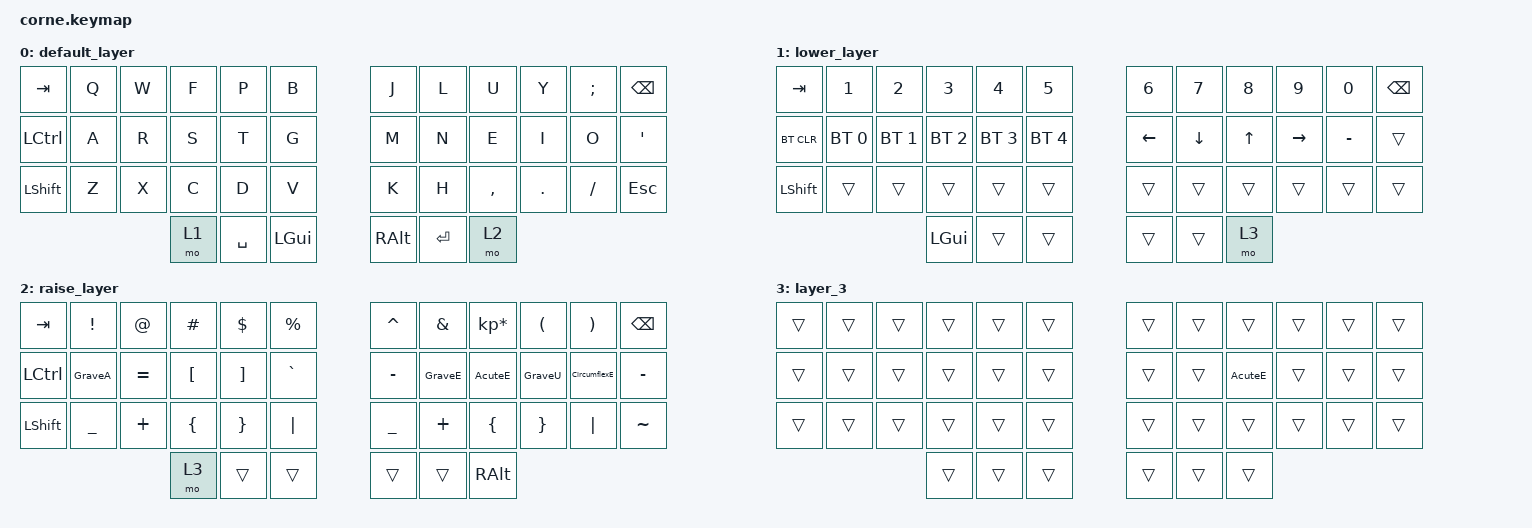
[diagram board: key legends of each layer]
/*
 * Copyright (c) 2020 The ZMK Contributors
 *
 * SPDX-License-Identifier: MIT
 */

#include <behaviors.dtsi>
#include <dt-bindings/zmk/bt.h>
#include <dt-bindings/zmk/keys.h>

/ {
    macros {
        AcuteE: AcuteE {
            compatible = "zmk,behavior-macro";
            #binding-cells = <0>;
            bindings = <&kp RA(E) &kp E>;
            label = "ACUTEE";
        };

        GraveA: GraveA {
            compatible = "zmk,behavior-macro";
            #binding-cells = <0>;
            bindings = <&kp RA(GRAVE) &kp A>;
            label = "GRAVEA";
        };

        CircumflexE: CircumflexE {
            compatible = "zmk,behavior-macro";
            #binding-cells = <0>;
            bindings = <&kp RA(I) &kp E>;
            label = "CIRCUMFLEXE";
        };

        GraveU: GraveU {
            compatible = "zmk,behavior-macro";
            #binding-cells = <0>;
            bindings = <&kp RA(GRAVE) &kp U>;
            label = "GRAVEU";
        };

        GraveE: GraveE {
            compatible = "zmk,behavior-macro";
            #binding-cells = <0>;
            bindings = <&kp RA(GRAVE) &kp E>;
            label = "GRAVEE";
        };
    };

    keymap {
        compatible = "zmk,keymap";

        default_layer {
            // -----------------------------------------------------------------------------------------
            // |  TAB |  Q  |  W  |  E  |  R  |  T  |   |  Y  |  U   |  I  |  O  |  P  | BKSP |
            // | CTRL |  A  |  S  |  D  |  F  |  G  |   |  H  |  J   |  K  |  L  |  ;  |  '   |
            // | SHFT |  Z  |  X  |  C  |  V  |  B  |   |  N  |  M   |  ,  |  .  |  /  | ESC  |
            //                    | GUI | LWR | SPC |   | ENT | RSE  | ALT |

            bindings = <
&kp TAB    &kp Q  &kp W  &kp F  &kp P      &kp B       &kp J     &kp L      &kp U      &kp Y    &kp SEMICOLON  &kp BSPC
&kp LCTRL  &kp A  &kp R  &kp S  &kp T      &kp G       &kp M     &kp N      &kp E      &kp I    &kp O          &kp SQT
&kp LSHFT  &kp Z  &kp X  &kp C  &kp D      &kp V       &kp K     &kp H      &kp COMMA  &kp DOT  &kp FSLH       &kp ESC
                         &mo 1  &kp SPACE  &kp LGUI    &kp RALT  &kp ENTER  &mo 2
            >;
        };

        lower_layer {
            // -----------------------------------------------------------------------------------------
            // |  TAB |  1  |  2  |  3  |  4  |  5  |   |  6  |  7  |  8  |  9  |  0  | BKSP |
            // | BTCLR| BT1 | BT2 | BT3 | BT4 | BT5 |   | LFT | DWN |  UP | RGT |     |      |
            // | SHFT |     |     |     |     |     |   |     |     |     |     |     |      |
            //                    | GUI |     | SPC |   | ENT |     | ALT |

            bindings = <
&kp TAB     &kp N1        &kp N2        &kp N3        &kp N4        &kp N5          &kp N6    &kp N7    &kp N8  &kp N9     &kp N0     &kp BSPC
&bt BT_CLR  &bt BT_SEL 0  &bt BT_SEL 1  &bt BT_SEL 2  &bt BT_SEL 3  &bt BT_SEL 4    &kp LEFT  &kp DOWN  &kp UP  &kp RIGHT  &kp MINUS  &trans
&kp LSHFT   &trans        &trans        &trans        &trans        &trans          &trans    &trans    &trans  &trans     &trans     &trans
                                        &kp LGUI      &trans        &trans          &trans    &trans    &mo 3
            >;
        };

        raise_layer {
            // -----------------------------------------------------------------------------------------
            // |  TAB |  !  |  @  |  #  |  $  |  %  |   |  ^  |  &  |  *  |  (  |  )  | BKSP |
            // | CTRL |     |     |     |     |     |   |  -  |  =  |  [  |  ]  |  \  |  `   |
            // | SHFT |     |     |     |     |     |   |  _  |  +  |  {  |  }  | "|" |  ~   |
            //                    | GUI |     | SPC |   | ENT |     | ALT |

            bindings = <
&kp TAB    &kp EXCL        &kp AT     &kp HASH          &kp DLLR           &kp PRCNT    &kp CARET  &kp AMPS  &kp KP_MULTIPLY  &kp LPAR  &kp RPAR      &kp BSPC
&kp LCTRL  &GraveA         &kp EQUAL  &kp LEFT_BRACKET  &kp RIGHT_BRACKET  &kp GRAVE    &kp MINUS  &GraveE   &AcuteE          &GraveU   &CircumflexE  &kp MINUS
&kp LSHFT  &kp UNDERSCORE  &kp PLUS   &kp LEFT_BRACE    &kp RIGHT_BRACE    &kp PIPE     &kp UNDER  &kp PLUS  &kp LBRC         &kp RBRC  &kp PIPE      &kp TILDE
                                      &mo 3             &trans             &trans       &trans     &trans    &kp RALT
            >;
        };

        layer_3 {
            bindings = <
&trans  &trans  &trans  &trans  &trans  &trans    &trans  &trans  &trans   &trans  &trans  &trans
&trans  &trans  &trans  &trans  &trans  &trans    &trans  &trans  &AcuteE  &trans  &trans  &trans
&trans  &trans  &trans  &trans  &trans  &trans    &trans  &trans  &trans   &trans  &trans  &trans
                        &trans  &trans  &trans    &trans  &trans  &trans
            >;
        };
    };
};
